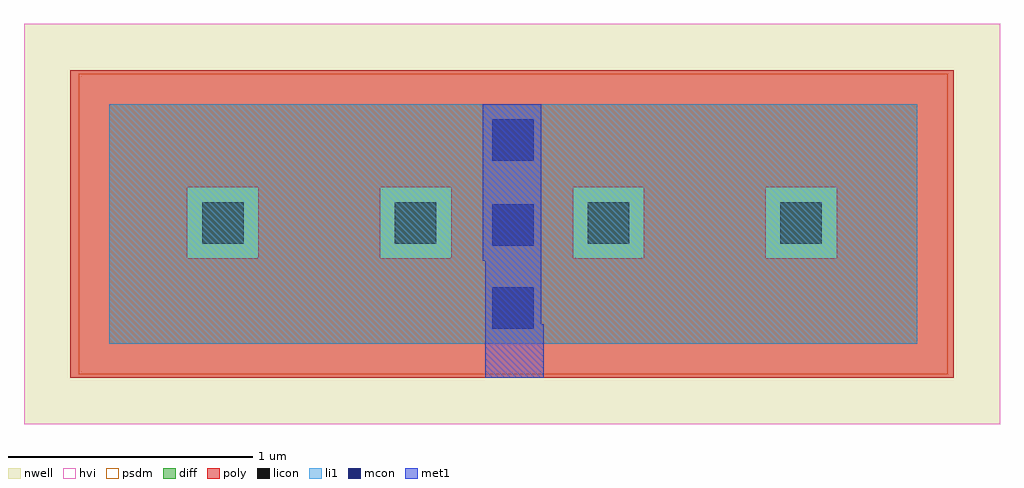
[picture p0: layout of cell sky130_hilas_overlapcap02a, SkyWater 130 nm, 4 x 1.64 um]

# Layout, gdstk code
import gdstk
lib = gdstk.Library(unit=1e-6, precision=1e-09)
def R(c, l, rs):  # rectangles x0, y0, x1, y1
    for r in rs: c.add(gdstk.rectangle(r[:2], r[2:], *l))
def A(c, l, x, y, w, h, nx, ny, dx, dy):  # array of equal rectangles
    R(c, l, [(x+i*dx, y+j*dy, x+i*dx+w, y+j*dy+h) for i in range(nx) for j in range(ny)])
nwell = (64, 20)
diff = (65, 20)
poly = (66, 20)
licon = (66, 44)
li1 = (67, 20)
mcon = (67, 44)
met1 = (68, 20)
hvi = (75, 20)
psdm = (94, 20)

sky130_hilas_overlapcap0 = lib.new_cell('sky130_hilas_overlapcap02a')
R(sky130_hilas_overlapcap0, nwell, [(-5.21,-0.54,-1.21,1.1)])
R(sky130_hilas_overlapcap0, diff, [(-4.86,-0.21,-1.55,0.77)])
A(sky130_hilas_overlapcap0, poly, -4.25, 0.14, 0.5, 0.29, 3, 1, 0.79, 0)
R(sky130_hilas_overlapcap0, poly, [(-5.02,-0.35,-1.4,0.14), (-5.02,0.14,-4.54,0.43), (-1.88,0.14,-1.4,0.43), (-5.02,0.43,-1.4,0.91)])
A(sky130_hilas_overlapcap0, licon, -4.48, 0.2, 0.17, 0.17, 4, 1, 0.79, 0)
R(sky130_hilas_overlapcap0, li1, [(-4.86,-0.21,-1.55,0.77)])
R(sky130_hilas_overlapcap0, mcon, [(-3.29,-0.15,-3.12,0.02), (-3.29,0.19,-3.12,0.36), (-3.29,0.54,-3.12,0.71)])
R(sky130_hilas_overlapcap0, met1, [(-3.32,-0.35,-3.08,-0.13), (-3.32,-0.13,-3.09,0.13), (-3.33,0.13,-3.09,0.77)])
R(sky130_hilas_overlapcap0, hvi, [(-5.21,-0.54,-1.21,1.1)])
R(sky130_hilas_overlapcap0, psdm, [(-4.985,-0.335,-1.425,0.895)])

lib.write_gds('sky130_hilas_overlapcap02a.gds')
